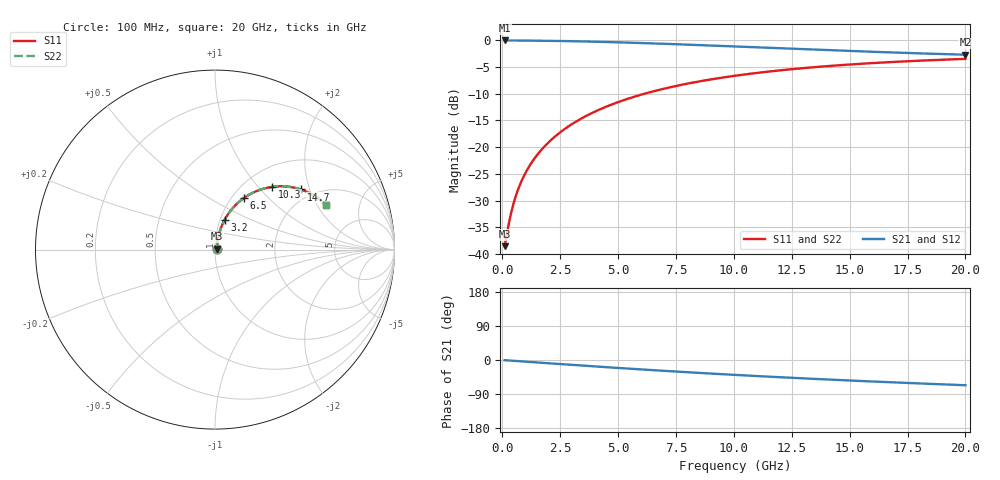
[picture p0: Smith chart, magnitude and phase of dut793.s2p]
! Touchstone file exported from HFSS 2026.1.0
!  File:  C:/ffzhzh/LocalFiles/Ansys_Project_Files/temp_train_TMRDL_793_1783155990_51560.aedt
!  Generated:  05:07:59 PM Jul  4, 2026
!  Design:  TMRDL
!  Project:  temp_train_TMRDL_793_1783155990_51560
! Variables:
!  h_bsmrdl = 2um
!  h_ox = 20um
!  h_rdl = 5um
!  h_sub = 80um
!  h_tmrdl = 2.94um
!  h_tsv = 80um
!  h_via = 3um
!  l_bsmrdl = 300um
!  l_sub = 1398.23um
!  l_tmrdl = 998.23um
!  m_sub = 200um
!  pitch = 49.04um
!  r_tsv = 6um
!  s_tmrdl = 10um
!  w_bsmrdl = 18um
!  w_sub = 500um
!  w_tmrdl = 11.38um
!  x_tsv_center1 = 1003.92um
!  x_tsv_center2 = 1321.92um
!  x_tsv_center3 = 2331.53um
!  x_tsv_center4 = 2649.53um
!  x_tsv_center5 = 3659.14um
!  x_tsv_center6 = 3977.14um
# GHz S MA R 50.000000
! Terminal data exported
! Port[1] = TM_RDL1_1_T1
! Port[2] = TM_RDL1_1_T2
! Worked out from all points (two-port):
!   200 points, 100 MHz to 20 GHz, reference 50 ohm
!   highest |S21| = -0.09 dB at 100 MHz (marker M1); lowest = -2.8 dB at 20 GHz (marker M2)
!   |S21| within 3 dB of the highest: start of sweep to end of sweep
!   lowest |S11| = -38.5 dB at 100 MHz (marker M3), VSWR 1.02, Z = 51.1 + j0.582 ohm
!   |S11| at or under -10 dB: start of sweep to 6.169 GHz
!   |S22| runs from -38.5 to -3.5 dB; largest |S21 - S12| = 6.1e-15
!   S11 on the Smith chart (normalised r, x): 100 MHz: 1.02, +0.01; 3.2 GHz: 1.05, +0.36; 6.5 GHz: 1.13, +0.73; 10.3 GHz: 1.32, +1.19; 14.7 GHz: 1.72, +1.74; 20 GHz: 2.67, +2.39
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0.1  0.01191 28.6  0.9896 -0.4  0.9896 -0.4  0.01191 28.6
! Gamma 0 0 0 0
! Port Impedance 50 0 50 0
0.3  0.02026 57.0  0.9892 -1.3  0.9892 -1.3  0.02026 57.0
0.4  0.02532 63.0  0.989 -1.8  0.989 -1.8  0.02532 63.0
0.5  0.03056 66.8  0.9887 -2.2  0.9887 -2.2  0.03056 66.8
0.6  0.03587 69.3  0.9883 -2.6  0.9883 -2.6  0.03587 69.3
0.8  0.04659 72.3  0.9876 -3.5  0.9876 -3.5  0.04659 72.3
1.1  0.06271 74.4  0.9864 -4.8  0.9864 -4.8  0.06271 74.4
1.5  0.0842 75.3  0.9845 -6.5  0.9845 -6.5  0.0842 75.3
2  0.111 75.0  0.9815 -8.6  0.9815 -8.6  0.111 75.0
2.6  0.1427 73.7  0.9772 -11.2  0.9772 -11.2  0.1427 73.7
3.2  0.1739 72.1  0.9718 -13.7  0.9718 -13.7  0.1739 72.1
3.5  0.1893 71.1  0.9688 -14.9  0.9688 -14.9  0.1893 71.1
4.9  0.2583 66.3  0.9522 -20.6  0.9522 -20.6  0.2583 66.3
6.5  0.3306 60.6  0.9289 -26.8  0.9289 -26.8  0.3306 60.6
6.8  0.3433 59.6  0.9242 -27.9  0.9242 -27.9  0.3433 59.6
8.3  0.4028 54.4  0.8994 -33.4  0.8994 -33.4  0.4028 54.4
10.1  0.4651 48.4  0.8685 -39.5  0.8685 -39.5  0.4651 48.4
10.3  0.4714 47.8  0.8651 -40.1  0.8651 -40.1  0.4714 47.8
13.4  0.5557 38.6  0.8137 -49.6  0.8137 -49.6  0.5557 38.6
14.7  0.584 35.0  0.7939 -53.3  0.7939 -53.3  0.584 35.0
16.7  0.6207 29.8  0.7662 -58.6  0.7662 -58.6  0.6207 29.8
20  0.6657 22.0  0.7286 -66.6  0.7286 -66.6  0.6657 22.0
